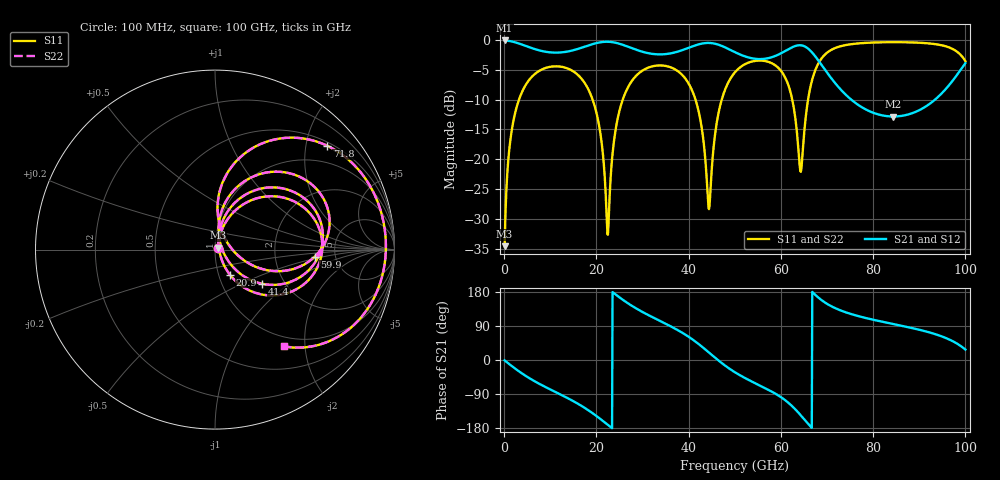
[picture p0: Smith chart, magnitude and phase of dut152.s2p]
! Touchstone file exported from HFSS 2026.1.0
!  File:  C:/ffzhzh/LocalFiles/Ansys_Project_Files/temp_train_TSV_RDL_152_1783645325_26216.aedt
!  Generated:  09:10:35 AM Jul 10, 2026
!  Design:  TSV_RDL
!  Project:  temp_train_TSV_RDL_152_1783645325_26216
! Variables:
!  h_bsmrdl = 2.1um
!  h_ox = 20um
!  h_rdl = 5um
!  h_sub = 90.33um
!  h_tmrdl = 4.94um
!  h_tsv = 90.33um
!  h_via = 3um
!  l_bsmrdl = 138.42um
!  l_sub = 2328.33um
!  l_tmrdl = 355.4um
!  m_sub = 200um
!  pitch = 53.14um
!  r_tsv = 8.29um
!  s_tmrdl = 10um
!  w_bsmrdl = 20.26um
!  w_sub = 500um
!  w_tmrdl = 10.23um
!  x_tsv_center1 = 360.515um
!  x_tsv_center2 = 519.195um
!  x_tsv_center3 = 884.825um
!  x_tsv_center4 = 1043.505um
!  x_tsv_center5 = 1409.135um
!  x_tsv_center6 = 1567.815um
# GHz S MA R 50.000000
! Terminal data exported
! Port[1] = TM_RDL1_1_T1
! Port[2] = TM_RDL5_1_T1
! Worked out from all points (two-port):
!   1000 points, 100 MHz to 100 GHz, reference 50 ohm
!   highest |S21| = -0.13 dB at 100 MHz (marker M1); lowest = -12.8 dB at 84.4 GHz (marker M2)
!   |S21| within 3 dB of the highest: start of sweep to 53.87 GHz; 56.99 GHz to 67.8 GHz (10.8 GHz wide, 17.3 % of centre)
!   lowest |S11| = -34.5 dB at 100 MHz (marker M3), VSWR 1.04, Z = 51.5 + j1.13 ohm
!   |S11| at or under -10 dB: 19.17 GHz to 25.72 GHz (6.55 GHz wide, 29.2 % of centre); 41.47 GHz to 47.18 GHz (5.709 GHz wide, 12.9 % of centre); 62.46 GHz to 65.89 GHz (3.433 GHz wide, 5.35 % of centre) (the widest 3 of 4)
!   |S22| runs from -34.5 to -0.4 dB; largest |S21 - S12| = 3.6e-14
!   S11 on the Smith chart (normalised r, x): 100 MHz: 1.03, +0.02; 20.9 GHz: 1.13, -0.32; 41.4 GHz: 1.54, -0.65; 59.9 GHz: 3.45, -0.41; 71.8 GHz: 0.58, +2.44; 100 GHz: 0.84, -1.61
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0.1  0.01883 35.7  0.9848 -1.0  0.9848 -1.0  0.01883 35.7
! Gamma 0 0 0 0
! Port Impedance 50 0 50 0
1.5  0.1602 68.9  0.9689 -14.5  0.9689 -14.5  0.1602 68.9
4.3  0.3949 47.9  0.8971 -39.0  0.8971 -39.0  0.3949 47.9
10.7  0.5979 6.6  0.7798 -81.9  0.7798 -81.9  0.5978 6.6
16.8  0.4706 -31.0  0.8564 -121.3  0.8564 -121.3  0.4705 -31.0
20.9  0.1614 -59.4  0.9512 -156.0  0.9512 -156.0  0.1613 -59.3
22.5  0.0235 19.3  0.9603 -171.2  0.9603 -171.2  0.02382 19.4
23.9  0.1511 75.6  0.9468 175.4  0.9468 175.4  0.1512 75.5
25.7  0.3146 64.3  0.9061 159.1  0.9061 159.1  0.3147 64.3
33.4  0.6085 14.6  0.7534 105.5  0.7534 105.5  0.6086 14.6
41.4  0.3228 -36.1  0.8944 49.2  0.8944 49.2  0.3229 -36.0
44.4  0.03839 19.2  0.939 19.8  0.939 19.8  0.03856 19.1
46.6  0.257 78.4  0.9038 -2.5  0.9038 -2.5  0.257 78.4
50.1  0.5372 53.8  0.784 -32.8  0.784 -32.8  0.5372 53.8
59.9  0.5562 -4.2  0.7651 -97.1  0.7651 -97.1  0.5562 -4.1
64.3  0.07864 32.8  0.8976 -145.9  0.8976 -145.9  0.0796 32.9
66.7  0.4502 79.9  0.786 -179.0  0.786 -179.0  0.4504 79.8
71.8  0.8523 42.7  0.4316 136.7  0.4316 136.7  0.8524 42.7
83.4  0.9524 6.7  0.2289 97.4  0.2289 97.4  0.9525 6.7
84.4  0.9528 4.4  0.228 94.8  0.228 94.8  0.9529 4.4
94.1  0.9095 -21.9  0.3332 65.7  0.3332 65.7  0.9096 -21.9
100  0.6616 -54.6  0.6368 27.6  0.6368 27.6  0.6619 -54.4
